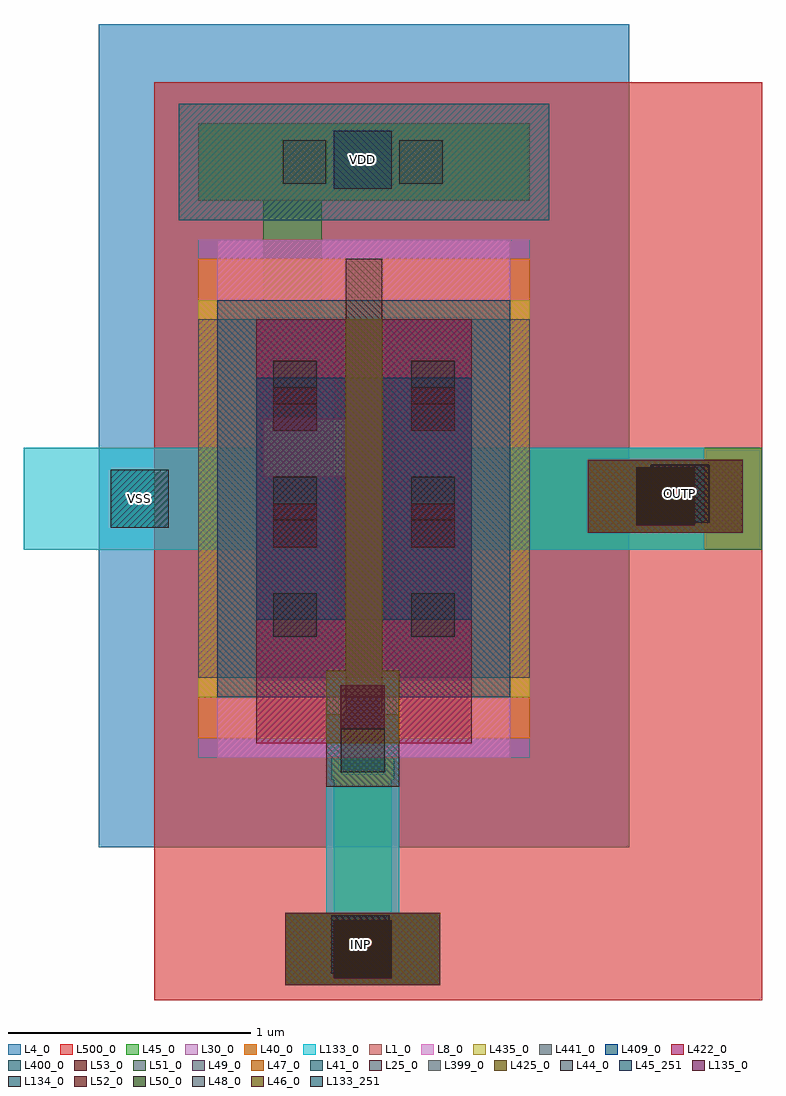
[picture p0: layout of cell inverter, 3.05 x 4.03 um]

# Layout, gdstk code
from math import pi, radians
import gdstk
lib = gdstk.Library(unit=1e-6, precision=1e-09)
def R(c, l, rs):  # rectangles x0, y0, x1, y1
    for r in rs: c.add(gdstk.rectangle(r[:2], r[2:], *l))
def A(c, l, x, y, w, h, nx, ny, dx, dy):  # array of equal rectangles
    R(c, l, [(x+i*dx, y+j*dy, x+i*dx+w, y+j*dy+h) for i in range(nx) for j in range(ny)])
L1_0 = (1, 0)
L4_0 = (4, 0)
L8_0 = (8, 0)
L25_0 = (25, 0)
L30_0 = (30, 0)
L40_0 = (40, 0)
L41_0 = (41, 0)
L44_0 = (44, 0)
L45_0 = (45, 0)
L45_251 = (45, 251)
L46_0 = (46, 0)
L47_0 = (47, 0)
L48_0 = (48, 0)
L49_0 = (49, 0)
L50_0 = (50, 0)
L51_0 = (51, 0)
L52_0 = (52, 0)
L53_0 = (53, 0)
L133_0 = (133, 0)
L133_251 = (133, 251)
L134_0 = (134, 0)
L135_0 = (135, 0)
L399_0 = (399, 0)
L400_0 = (400, 0)
L409_0 = (409, 0)
L422_0 = (422, 0)
L425_0 = (425, 0)
L435_0 = (435, 0)
L441_0 = (441, 0)
L500_0 = (500, 0)

abutcontact_cdns_4538224 = lib.new_cell('AbutContact_CDNS_453822419592')
R(abutcontact_cdns_4538224, L1_0, [(-0.05,-0.03,1.32,0.29)])
R(abutcontact_cdns_4538224, L44_0, [(0.3,0.04,0.48,0.22), (0.78,0.04,0.96,0.22)])
R(abutcontact_cdns_4538224, L45_0, [(-0.05,-0.03,1.32,0.29)])

pmos_hs_4_cdns_453822419 = lib.new_cell('pmos_hs_4_CDNS_453822419590')
R(pmos_hs_4_cdns_453822419, L1_0, [(-0.37,0,0,1.5), (0,0,0.15,1.5), (0.15,0,0.52,1.5), (-0.37,0.11,-0.05,1.39), (0.2,0.11,0.52,1.39)])
R(pmos_hs_4_cdns_453822419, L4_0, [(-1.02,-1.21,1.17,2.19), (-1.02,-1.21,1.17,2.19), (-0.77,-0.96,0.92,1.82)])
R(pmos_hs_4_cdns_453822419, L8_0, [(-0.53,-0.32,0.68,1.82)])
R(pmos_hs_4_cdns_453822419, L25_0, [(0,-0.24,0.15,0), (0,-0.24,0.15,1.74), (0,1.5,0.15,1.74), (-0.08,1.64,0.22,1.94), (-0.08,1.64,0.22,1.94)])
R(pmos_hs_4_cdns_453822419, L30_0, [(-0.61,-0.32,0.76,1.82)])
R(pmos_hs_4_cdns_453822419, L40_0, [(-0.61,-0.24,0.76,1.74)])
R(pmos_hs_4_cdns_453822419, L41_0, [(-0.69,-0.88,0.84,-0.4)])
A(pmos_hs_4_cdns_453822419, L44_0, -0.3, 0.18, 0.18, 0.18, 1, 3, 0, 0.48)
A(pmos_hs_4_cdns_453822419, L44_0, 0.27, 0.18, 0.18, 0.18, 1, 3, 0, 0.48)
R(pmos_hs_4_cdns_453822419, L44_0, [(-0.02,1.7,0.16,1.88)])
R(pmos_hs_4_cdns_453822419, L45_0, [(-0.61,-0.8,0.76,-0.48), (-0.37,0.11,-0.05,1.39), (0.2,0.11,0.52,1.39), (-0.06,1.67,0.2,1.91)])
pmos_hs_4_cdns_453822419.add(gdstk.Reference(abutcontact_cdns_4538224, (-0.56,-0.77)))

nmos_hs_4_top_cdns_45382 = lib.new_cell('nmos_hs_4_top_CDNS_453822419591')
R(nmos_hs_4_top_cdns_45382, L133_0, [(-0.37,0,-0.05,1), (0.2,0,0.52,1), (-0.28,0.06,-0.14,0.2), (0.29,0.06,0.43,0.2), (-0.06,1.24,0.2,1.48), (0,1.29,0.14,1.43)])
R(nmos_hs_4_top_cdns_45382, L135_0, [(-0.3,0.04,-0.12,0.22), (0.27,0.04,0.45,0.22), (-0.3,0.52,-0.12,0.7), (0.27,0.52,0.45,0.7), (-0.02,1.27,0.16,1.45)])
R(nmos_hs_4_top_cdns_45382, L399_0, [(0,-0.24,0.15,1.21), (0.04,0.1,0.1,0.18), (-0.08,1.21,0.22,1.51)])
R(nmos_hs_4_top_cdns_45382, L400_0, [(-0.37,0,-0.05,1), (-0.05,0,0,1), (0,0,0.15,1), (0.15,0,0.2,1), (0.2,0,0.52,1)])
R(nmos_hs_4_top_cdns_45382, L409_0, [(-0.53,-0.32,0.68,1.32)])
R(nmos_hs_4_top_cdns_45382, L422_0, [(-0.37,-0.24,0.52,1.51)])
R(nmos_hs_4_top_cdns_45382, L425_0, [(0,-0.24,0.15,1.21), (-0.08,1.21,0.22,1.51)])
R(nmos_hs_4_top_cdns_45382, L435_0, [(-0.61,-0.32,0.76,1.32)])
R(nmos_hs_4_top_cdns_45382, L441_0, [(-0.61,-0.24,0.76,1.24)])

m5_m1_top_cdns_453822419 = lib.new_cell('M5_M1_top_CDNS_453822419590')
R(m5_m1_top_cdns_453822419, L53_0, [(-0.15,-0.32,0.15,0.32)])
R(m5_m1_top_cdns_453822419, L133_0, [(-0.15,-0.16,0.15,0.16)])
R(m5_m1_top_cdns_453822419, L134_0, [(-0.12,-0.12,0.12,0.12)])

m4_m5_cdns_453822419591 = lib.new_cell('M4_M5_CDNS_453822419591')
R(m4_m5_cdns_453822419591, L51_0, [(-0.15,-0.32,0.15,0.32)])
R(m4_m5_cdns_453822419591, L52_0, [(-0.12,-0.12,0.12,0.12)])
R(m4_m5_cdns_453822419591, L53_0, [(-0.15,-0.32,0.15,0.32)])

m3_m4_cdns_453822419592 = lib.new_cell('M3_M4_CDNS_453822419592')
R(m3_m4_cdns_453822419592, L49_0, [(-0.15,-0.32,0.15,0.32)])
R(m3_m4_cdns_453822419592, L50_0, [(-0.12,-0.12,0.12,0.12)])
R(m3_m4_cdns_453822419592, L51_0, [(-0.15,-0.32,0.15,0.32)])

m2_m3_cdns_453822419593 = lib.new_cell('M2_M3_CDNS_453822419593')
R(m2_m3_cdns_453822419593, L47_0, [(-0.15,-0.32,0.15,0.32)])
R(m2_m3_cdns_453822419593, L48_0, [(-0.12,-0.12,0.12,0.12)])
R(m2_m3_cdns_453822419593, L49_0, [(-0.15,-0.32,0.15,0.32)])

m1_m2_cdns_453822419594 = lib.new_cell('M1_M2_CDNS_453822419594')
R(m1_m2_cdns_453822419594, L45_0, [(-0.15,-0.32,0.15,0.32)])
R(m1_m2_cdns_453822419594, L46_0, [(-0.12,-0.12,0.12,0.12)])
R(m1_m2_cdns_453822419594, L47_0, [(-0.15,-0.32,0.15,0.32)])

inverter = lib.new_cell('inverter')
R(inverter, L45_0, [(2.76,1.17,3.4,1.47)])
R(inverter, L45_251, [(2.95,1.22,3.19,1.46), (4.27,3.08,4.51,3.32), (2.96,4.46,3.2,4.7)])
R(inverter, L133_0, [(2.76,1.17,3.4,1.47), (2.93,1.18,3.23,2.44), (1.68,2.97,2.96,3.39), (3.21,2.97,4.49,3.39)])
R(inverter, L133_251, [(2.04,3.06,2.28,3.3)])
R(inverter, L500_0, [(2.22,1.11,4.73,4.9)])
inverter.add(gdstk.FlexPath([(3.21,3.09),(4.73,3.09)], 0.24, ends="flush", simple_path=True, layer=45, datatype=0))  # L45_0
inverter.add(gdstk.FlexPath([(3.21,3.27),(4.73,3.27)], 0.24, ends="flush", simple_path=True, layer=45, datatype=0))  # L45_0
inverter.add(gdstk.FlexPath([(2.79,3.59),(2.79,4.73)], 0.24, ends="flush", simple_path=True, layer=45, datatype=0))  # L45_0
inverter.add(gdstk.FlexPath([(3.08,2.26),(3.08,1.29)], 0.24, ends="flush", simple_path=True, layer=45, datatype=0))  # L45_0
inverter.add(gdstk.FlexPath([(3.11,3.39),(2.67,3.39)], 0.24, ends="flush", simple_path=True, layer=399, datatype=0))  # L399_0
inverter.add(gdstk.Reference(pmos_hs_4_cdns_453822419, (3.01,3.93), x_reflection=True))
inverter.add(gdstk.Reference(nmos_hs_4_top_cdns_45382, (3.01,3.68), x_reflection=True))
inverter.add(gdstk.Reference(m5_m1_top_cdns_453822419, (4.33,3.19), rotation=pi/2))
inverter.add(gdstk.Reference(m5_m1_top_cdns_453822419, (3.08,1.32), rotation=pi/2))
inverter.add(gdstk.Reference(m4_m5_cdns_453822419591, (4.33,3.19), rotation=pi/2))
inverter.add(gdstk.Reference(m4_m5_cdns_453822419591, (3.08,1.32), rotation=pi/2))
inverter.add(gdstk.Reference(m3_m4_cdns_453822419592, (4.33,3.19), rotation=pi/2))
inverter.add(gdstk.Reference(m3_m4_cdns_453822419592, (3.08,1.32), rotation=pi/2))
inverter.add(gdstk.Reference(m2_m3_cdns_453822419593, (4.33,3.19), rotation=pi/2))
inverter.add(gdstk.Reference(m2_m3_cdns_453822419593, (3.08,1.32), rotation=pi/2))
inverter.add(gdstk.Reference(m1_m2_cdns_453822419594, (4.33,3.19), rotation=pi/2))
inverter.add(gdstk.Reference(m1_m2_cdns_453822419594, (3.08,1.32), rotation=pi/2))
inverter.add(gdstk.Label('VDD', (3.08,4.58), layer=45, texttype=251))
inverter.add(gdstk.Label('OUTP', (4.39,3.2), layer=45, texttype=251))
inverter.add(gdstk.Label('INP', (3.07,1.34), layer=45, texttype=251))
inverter.add(gdstk.Label('VSS', (2.16,3.18), layer=133, texttype=251))

lib.write_gds('inverter.gds')
